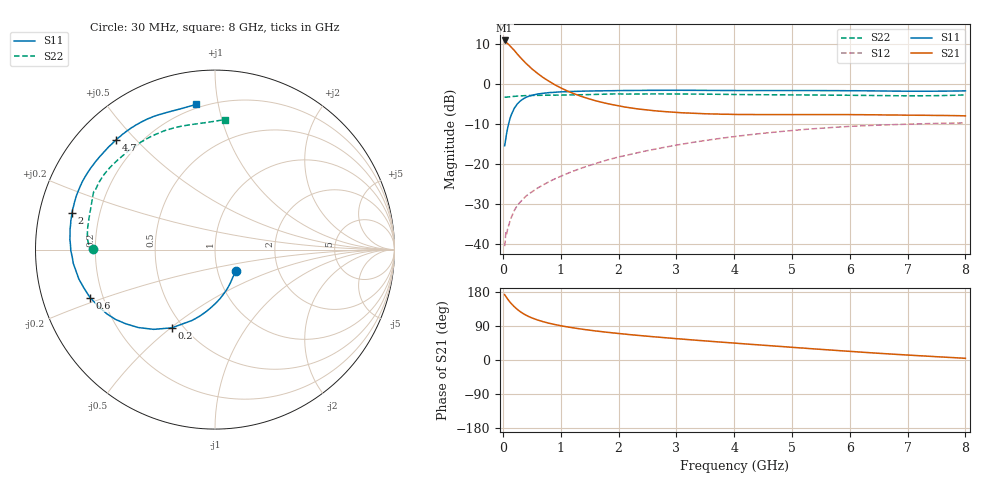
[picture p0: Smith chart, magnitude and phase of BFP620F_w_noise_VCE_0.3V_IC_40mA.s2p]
! Infineon Technologies  Discrete & RF Semiconductors
! BFP620F
! VCE =  0.3 V,  IC =  40 mA
! Common Emitter S-Parameters:  Dec 2014
# GHz  S  MA  R  50
!  f  S11  S21  S12  S22
! GHz  MAG  ANG  MAG  ANG  MAG  ANG  MAG  ANG
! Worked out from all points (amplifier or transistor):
!   95 points, 30 MHz to 8 GHz, reference 50 ohm
!   highest |S21| = 10.9 dB at 30 MHz (marker M1)
!   |S21| within 3 dB of that: start of sweep to 227 MHz
!   unconditionally stable (mu >= 1): start of sweep to end of sweep
!   at 300 MHz: K = 2.57, MAG = 11.2 dB, |S12| = -29.6 dB
!   at 3.3 GHz: K = 1.52, MAG = -0.6 dB, |S12| = -14.6 dB
!   at 8 GHz: K = 1.27, MAG = -2.2 dB, |S12| = -9.8 dB
!   lowest NFmin = 1.36 dB at 450 MHz
!   S11 on the Smith chart (normalised r, x): 30 MHz: 1.23, -0.30; 200 MHz: 0.43, -0.50; 600 MHz: 0.15, -0.18; 2 GHz: 0.10, +0.13; 4.7 GHz: 0.12, +0.44; 8 GHz: 0.18, +0.86
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0.03  0.1676 -45.4  3.488 172.6  0.0093 24.3  0.6805 179.9
0.04  0.1828 -56.9  3.361 170.2  0.0105 34.3  0.6806 180.0
0.05  0.2044 -65.2  3.324 168.1  0.0137 41.4  0.6789 -179.9
0.06  0.2288 -72.6  3.28 165.7  0.0129 43.9  0.6807 -180.0
0.11  0.3391 -96.5  3.061 155.3  0.0177 48.1  0.6876 179.8
0.15  0.4165 -108.2  2.844 148.1  0.0216 49.2  0.6925 179.4
0.2  0.4979 -118.9  2.609 140.2  0.0262 51.3  0.6969 178.8
0.25  0.5601 -127.5  2.356 133.5  0.03 51.9  0.7025 178.0
0.3  0.609 -134.5  2.147 127.6  0.0331 51.6  0.7061 177.2
0.35  0.6468 -140.3  1.965 122.6  0.0362 51.9  0.7088 176.4
0.45  0.7002 -149.2  1.672 114.5  0.042 52.8  0.7137 174.7
0.6  0.7457 -158.9  1.349 105.6  0.0496 53.8  0.7173 172.2
0.7  0.7614 -163.8  1.194 100.9  0.0545 54.8  0.7192 170.6
0.9  0.7838 -171.4  0.972 93.5  0.0647 55.8  0.7212 167.7
1.4  0.8105 176.0  0.68 80.7  0.0902 56.9  0.7313 160.9
2  0.8226 165.5  0.531 70.0  0.1216 55.1  0.7488 154.4
2.7  0.8293 156.0  0.455 60.2  0.1559 50.9  0.7468 148.6
4.1  0.8239 138.8  0.413 43.5  0.2229 39.9  0.7342 135.2
4.7  0.8228 132.0  0.412 36.8  0.2484 34.4  0.7288 128.2
5.4  0.8231 124.6  0.412 29.1  0.2749 27.8  0.7242 119.7
6.7  0.8111 110.6  0.407 15.8  0.3075 15.5  0.7108 103.3
8  0.8164 97.3  0.397 4.4  0.3241 4.6  0.7265 85.7
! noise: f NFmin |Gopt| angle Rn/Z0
0.45  1.36  0.16  -173  0.16
0.9  1.38  0.16  -172  0.13
1.5  1.39  0.21  -152  0.11
1.8  1.4  0.21  -151  0.11
1.9  1.41  0.21  -150  0.11
2.4  1.43  0.21  214  0.13
3.5  1.49  0.22  220  0.17
5.5  1.63  0.27  247  0.17
6  1.67  0.28  261  0.2
